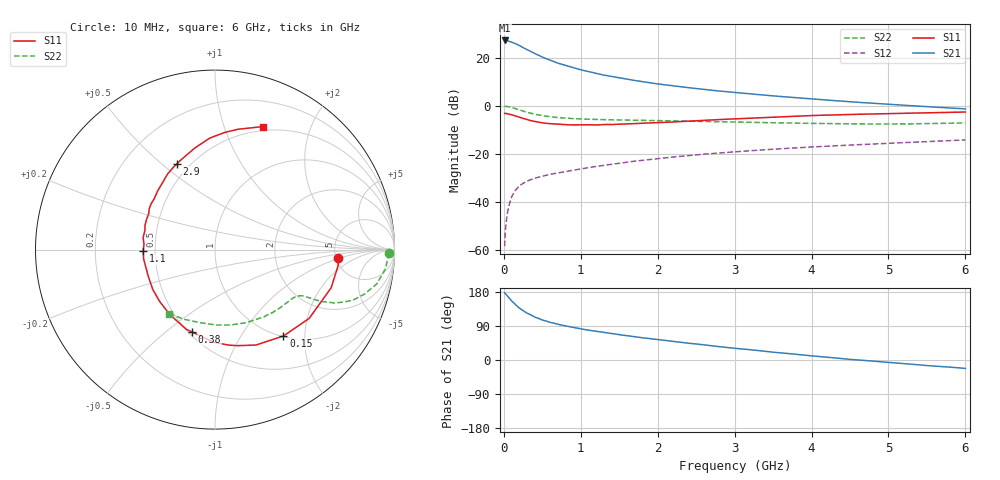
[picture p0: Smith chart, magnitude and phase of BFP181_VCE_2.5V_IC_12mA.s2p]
! Infineon Technologies  Discrete & RF Semiconductors
! BFP181
! VCE = 2.5 V,  IC =  12 mA
! Common Emitter S-Parameters:  Jan 2016
# GHz  S  MA  R  50
!  f  S11  S21  S12  S22
! GHz  MAG  ANG  MAG  ANG  MAG  ANG  MAG  ANG
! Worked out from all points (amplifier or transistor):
!   210 points, 10 MHz to 6 GHz, reference 50 ohm
!   highest |S21| = 27.1 dB at 10 MHz (marker M1)
!   |S21| within 3 dB of that: start of sweep to 252 MHz
!   unconditionally stable (mu >= 1): 860.5 MHz to end of sweep
!   at 185 MHz: K = 0.33, MSG = 29.6 dB, |S12| = -33.9 dB
!   at 1.52 GHz: K = 1.20, MAG = 14.9 dB, |S12| = -23.8 dB
!   at 6 GHz: K = 1.02, MAG = 5.7 dB, |S12| = -14.3 dB
!   S11 on the Smith chart (normalised r, x): 10 MHz: 5.22, -0.90; 150 MHz: 1.01, -1.57; 380 MHz: 0.52, -0.62; 1.1 GHz: 0.43, -0.01; 2.9 GHz: 0.43, +0.56; 6 GHz: 0.46, +1.37
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0.01  0.6865 -3.8  22.62 177.4  0.0012 78.4  0.9686 -1.1
0.025  0.6883 -9.2  22.48 174.1  0.0031 86.0  0.9628 -3.0
0.05  0.6812 -18.2  22.3 167.8  0.0063 86.9  0.9565 -6.3
0.1  0.6498 -36.1  20.96 156.3  0.0125 72.0  0.9212 -12.0
0.15  0.6142 -51.6  19.45 146.1  0.0173 66.9  0.8701 -16.5
0.2  0.5785 -66.8  17.83 137.2  0.0215 62.3  0.8193 -20.1
0.24  0.5497 -76.8  16.39 131.3  0.0237 58.8  0.7795 -21.9
0.3  0.5173 -90.5  14.63 123.8  0.027 55.1  0.7279 -24.1
0.38  0.4767 -105.6  12.6 115.8  0.0301 52.2  0.6762 -25.5
0.4  0.4722 -109.7  12.14 113.4  0.0309 51.6  0.6633 -25.9
0.5  0.4407 -125.0  10.19 105.6  0.0342 50.0  0.6177 -26.7
0.6  0.4222 -137.3  8.815 99.5  0.0373 50.4  0.5866 -27.1
0.8  0.402 -156.5  6.85 89.9  0.0424 50.3  0.5496 -27.9
1.02  0.4005 -173.7  5.46 81.5  0.0489 50.6  0.5272 -29.4
1.1  0.4005 -178.7  5.098 78.7  0.0515 50.8  0.5215 -30.0
1.5  0.4126 161.1  3.775 66.7  0.0638 51.3  0.5035 -34.1
2.02  0.4428 139.6  2.799 53.4  0.0799 49.5  0.4877 -41.1
2.9  0.5224 114.1  1.945 33.1  0.1066 44.6  0.4593 -55.5
3.1  0.54 109.2  1.819 29.1  0.1125 43.2  0.4518 -59.2
4.1  0.6278 91.1  1.344 9.2  0.1409 35.9  0.4259 -80.3
5.1  0.688 77.8  1.042 -7.9  0.1677 28.6  0.4154 -103.7
6  0.7368 68.5  0.855 -22.1  0.1938 21.1  0.4387 -125.3
